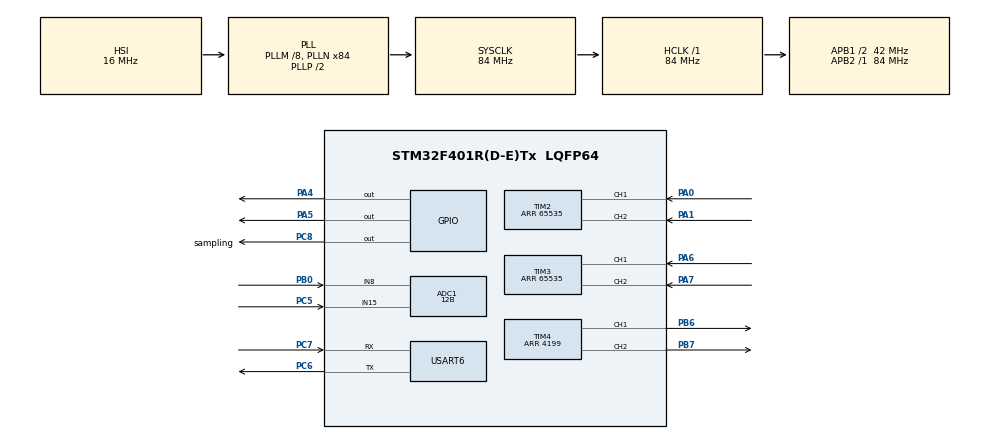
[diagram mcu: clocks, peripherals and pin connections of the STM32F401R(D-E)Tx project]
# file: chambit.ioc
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ADC1.Channel-0\#ChannelRegularConversion=ADC_CHANNEL_8
ADC1.Channel-1\#ChannelRegularConversion=ADC_CHANNEL_15
ADC1.ClockPrescaler=ADC_CLOCK_SYNC_PCLK_DIV4
ADC1.ContinuousConvMode=DISABLE
ADC1.DMAContinuousRequests=ENABLE
ADC1.DataAlign=ADC_DATAALIGN_RIGHT
ADC1.DiscontinuousConvMode=DISABLE
ADC1.EOCSelection=ADC_EOC_SINGLE_CONV
ADC1.EnableAnalogWatchDog=false
ADC1.ExternalTrigConv=ADC_SOFTWARE_START
ADC1.ExternalTrigConvEdge=ADC_EXTERNALTRIGCONVEDGE_NONE
ADC1.InjNumberOfConversion=0
ADC1.NbrOfConversion=2
ADC1.NbrOfConversionFlag=1
ADC1.Rank-0\#ChannelRegularConversion=1
ADC1.Rank-1\#ChannelRegularConversion=2
ADC1.Resolution=ADC_RESOLUTION_12B
ADC1.SamplingTime-0\#ChannelRegularConversion=ADC_SAMPLETIME_480CYCLES
ADC1.SamplingTime-1\#ChannelRegularConversion=ADC_SAMPLETIME_480CYCLES
ADC1.ScanConvMode=ENABLE
ADC1.master=1
Dma.ADC1.1.Direction=DMA_PERIPH_TO_MEMORY
Dma.ADC1.1.FIFOMode=DMA_FIFOMODE_DISABLE
Dma.ADC1.1.Instance=DMA2_Stream0
Dma.ADC1.1.MemDataAlignment=DMA_MDATAALIGN_HALFWORD
Dma.ADC1.1.MemInc=DMA_MINC_ENABLE
Dma.ADC1.1.Mode=DMA_CIRCULAR
Dma.ADC1.1.PeriphDataAlignment=DMA_PDATAALIGN_HALFWORD
Dma.ADC1.1.PeriphInc=DMA_PINC_DISABLE
Dma.ADC1.1.Priority=DMA_PRIORITY_LOW
Dma.Request0=USART6_RX
Dma.Request1=ADC1
Dma.USART6_RX.0.Direction=DMA_PERIPH_TO_MEMORY
Dma.USART6_RX.0.FIFOMode=DMA_FIFOMODE_DISABLE
Dma.USART6_RX.0.Instance=DMA2_Stream1
Dma.USART6_RX.0.MemDataAlignment=DMA_MDATAALIGN_BYTE
Dma.USART6_RX.0.MemInc=DMA_MINC_ENABLE
Dma.USART6_RX.0.Mode=DMA_CIRCULAR
Dma.USART6_RX.0.PeriphDataAlignment=DMA_PDATAALIGN_BYTE
Dma.USART6_RX.0.PeriphInc=DMA_PINC_DISABLE
Dma.USART6_RX.0.Priority=DMA_PRIORITY_LOW
Mcu.Family=STM32F4
Mcu.Name=STM32F401R(D-E)Tx
Mcu.Package=LQFP64
NVIC.DMA2_Stream0_IRQn=true\:0\:0\:false\:false\:true\:false
NVIC.DMA2_Stream1_IRQn=true\:0\:0\:false\:false\:true\:false
NVIC.PriorityGroup=NVIC_PRIORITYGROUP_4
NVIC.TIM4_IRQn=true\:0\:0\:false\:false\:true\:true
PA0-WKUP.Signal=S_TIM2_CH1_ETR
PA1.Signal=S_TIM2_CH2
PA4.Signal=GPIO_Output
PA5.Signal=GPIO_Output
PA6.Signal=S_TIM3_CH1
PA7.Signal=S_TIM3_CH2
PB0.Signal=ADCx_IN8
PB6.Signal=S_TIM4_CH1
PB7.Signal=S_TIM4_CH2
PC14-OSC32_IN.Mode=LSE-External-Oscillator
PC14-OSC32_IN.Signal=RCC_OSC32_IN
PC15-OSC32_OUT.Mode=LSE-External-Oscillator
PC15-OSC32_OUT.Signal=RCC_OSC32_OUT
PC5.Signal=ADCx_IN15
PC6.Mode=Asynchronous
PC6.Signal=USART6_TX
PC7.Mode=Asynchronous
PC7.Signal=USART6_RX
PC8.GPIO_Label=sampling
PC8.Signal=GPIO_Output
PH0\ -\ OSC_IN.Mode=HSE-External-Clock-Source
PH0\ -\ OSC_IN.Signal=RCC_OSC_IN
PH1\ -\ OSC_OUT.Mode=HSE-External-Clock-Source
PH1\ -\ OSC_OUT.Signal=RCC_OSC_OUT
ProjectManager.HeapSize=0x200
ProjectManager.StackSize=0x400
ProjectManager.TargetToolchain=EWARM
RCC.48MHZClocksFreq_Value=42000000
RCC.AHBFreq_Value=84000000
RCC.APB1CLKDivider=RCC_HCLK_DIV2
RCC.APB1Freq_Value=42000000
RCC.APB1TimFreq_Value=84000000
RCC.APB2Freq_Value=84000000
RCC.APB2TimFreq_Value=84000000
RCC.CortexFreq_Value=84000000
RCC.HCLKFreq_Value=84000000
RCC.HSE_VALUE=25000000
RCC.HSI_VALUE=16000000
RCC.PLLM=8
RCC.PLLN=84
RCC.SYSCLKFreq_VALUE=84000000
RCC.SYSCLKSource=RCC_SYSCLKSOURCE_PLLCLK
RCC.VCOOutputFreq_Value=168000000
SH.ADCx_IN15.0=ADC1_IN15,IN15
SH.ADCx_IN8.0=ADC1_IN8,IN8
SH.S_TIM2_CH1_ETR.0=TIM2_CH1,Encoder_Interface
SH.S_TIM2_CH2.0=TIM2_CH2,Encoder_Interface
SH.S_TIM3_CH1.0=TIM3_CH1,Encoder_Interface
SH.S_TIM3_CH2.0=TIM3_CH2,Encoder_Interface
SH.S_TIM4_CH1.0=TIM4_CH1,PWM Generation1 CH1
SH.S_TIM4_CH2.0=TIM4_CH2,PWM Generation2 CH2
TIM2.EncoderMode=TIM_ENCODERMODE_TI12
TIM2.Period=65535
TIM3.EncoderMode=TIM_ENCODERMODE_TI12
TIM3.Period=65535
TIM4.Channel-PWM\ Generation1\ CH1=TIM_CHANNEL_1
TIM4.Channel-PWM\ Generation2\ CH2=TIM_CHANNEL_2
TIM4.Period=4199
USART6.VirtualMode=VM_ASYNC
VP_TIM4_VS_ClockSourceINT.Mode=Internal
board=chambit

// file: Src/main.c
/**
  ******************************************************************************
  * @file           : main.c
  * @brief          : Main program body
  ******************************************************************************
  ** This notice applies to any and all portions of this file
  * that are not between comment pairs USER CODE BEGIN and
  * USER CODE END. Other portions of this file, whether
  * inserted by the user or by software development tools
  * are owned by their respective copyright owners.
  *
  * COPYRIGHT(c) 2020 STMicroelectronics
  *
  * Redistribution and use in source and binary forms, with or without modification,
  * are permitted provided that the following conditions are met:
  *   1. Redistributions of source code must retain the above copyright notice,
  *      this list of conditions and the following disclaimer.
  *   2. Redistributions in binary form must reproduce the above copyright notice,
  *      this list of conditions and the following disclaimer in the documentation
  *      and/or other materials provided with the distribution.
  *   3. Neither the name of STMicroelectronics nor the names of its contributors
  *      may be used to endorse or promote products derived from this software
  *      without specific prior written permission.
  *
  * THIS SOFTWARE IS PROVIDED BY THE COPYRIGHT HOLDERS AND CONTRIBUTORS "AS IS"
  * AND ANY EXPRESS OR IMPLIED WARRANTIES, INCLUDING, BUT NOT LIMITED TO, THE
  * IMPLIED WARRANTIES OF MERCHANTABILITY AND FITNESS FOR A PARTICULAR PURPOSE ARE
  * DISCLAIMED. IN NO EVENT SHALL THE COPYRIGHT HOLDER OR CONTRIBUTORS BE LIABLE
  * FOR ANY DIRECT, INDIRECT, INCIDENTAL, SPECIAL, EXEMPLARY, OR CONSEQUENTIAL
  * DAMAGES (INCLUDING, BUT NOT LIMITED TO, PROCUREMENT OF SUBSTITUTE GOODS OR
  * SERVICES; LOSS OF USE, DATA, OR PROFITS; OR BUSINESS INTERRUPTION) HOWEVER
  * CAUSED AND ON ANY THEORY OF LIABILITY, WHETHER IN CONTRACT, STRICT LIABILITY,
  * OR TORT (INCLUDING NEGLIGENCE OR OTHERWISE) ARISING IN ANY WAY OUT OF THE USE
  * OF THIS SOFTWARE, EVEN IF ADVISED OF THE POSSIBILITY OF SUCH DAMAGE.
  *
  ******************************************************************************
  */
#include "main.h"
#include "stm32f4xx_hal.h"

/* USER CODE BEGIN Includes */
#include "string.h"
#include "math.h"

/* USER CODE END Includes */

ADC_HandleTypeDef hadc1;
DMA_HandleTypeDef hdma_adc1;

TIM_HandleTypeDef htim2;
TIM_HandleTypeDef htim3;
TIM_HandleTypeDef htim4;

UART_HandleTypeDef huart6;
DMA_HandleTypeDef hdma_usart6_rx;

/* USER CODE BEGIN PV */
/* Private variables ---------------------------------------------------------*/
#define dt 0.0002
#define dt2 0.0001
#define dt10 0.02
#define pi 3.141592653589793
#define ppr 3724
#define RX_BUFFER_SIZE 18
#define TX_BUFFER_SIZE 12
#define R 0.075
#define L 0.2125
#define get_dma_data_length() huart6.hdmarx->Instance->NDTR
#define get_dma_total_size() huart6.RxXferSize
//#define tau 0.00048

volatile int32_t encoder_cnt_R = 0;
volatile int32_t encoder_cnt_L = 0;
volatile int32_t encoder_cnt_pre_R = 0;
volatile int32_t encoder_cnt_pre_L = 0;

volatile int16_t cnt_R = 0;
volatile int16_t cnt_L = 0;

volatile double angular_velocity_R = 0;
volatile double angular_velocity_L = 0;
volatile double angular_velocity_pre_R = 0;
volatile double angular_velocity_pre_L = 0;
volatile double theta_R = 0;
volatile double theta_L = 0;
volatile double delta_s = 0;
volatile double delta_theta = 0;

//volatile int g_cnt = 0;

volatile uint16_t Motor_CCR_R = 0;
volatile uint16_t Motor_CCR_L = 0;
volatile uint16_t timer = 0;
volatile uint16_t ctimer = 0;
volatile uint16_t ptimer = 0;
volatile uint16_t ktimer = 0;

volatile double rep_r = 0;
volatile double rep_l = 0;
volatile double rep_pre_r = 0;
volatile double rep_pre_l = 0;
volatile double Kps[2] = {80.5, 61.5};//{74, 71};68 58
volatile double Kis[2] = {71.24, 68.12};//{55, 57};45 62
volatile double Kas[2] = {0.00455, 0.00555};
volatile double Es[2] = {0, 0};
volatile double Eis[2] = {0, 0};
volatile double speed[2] = {0, 0};

volatile int16_t lin_vel;
volatile int16_t ang_vel;

volatile uint8_t lin_vel_L;
volatile uint8_t lin_vel_H;
volatile uint8_t ang_vel_L;
volatile uint8_t ang_vel_H;

volatile int16_t sop = 0x55;
volatile int16_t checksum;

volatile uint8_t checksum_H;
volatile uint8_t checksum_L;

volatile char packet[RX_BUFFER_SIZE];
//volatile uint8_t parsing[RX_BUFFER_SIZE];

volatile int16_t plin_vel;
volatile int16_t pang_vel;
volatile int16_t pcheck;

uint8_t rx_dma_buffer[RX_BUFFER_SIZE];
uint8_t rx_buffer[RX_BUFFER_SIZE];
uint32_t rx_size = 0;
uint8_t tx_len;
uint8_t tx_buffer[TX_BUFFER_SIZE];

uint16_t _prevRxXferedCount = 0;
uint16_t _lastRxXferedCount = 0;

uint16_t old_pos = 0;
uint16_t pos;
uint16_t umm;
uint16_t umm2;
uint16_t umm3;

int16_t trans_x;
int16_t trans_y;
int16_t trans_yaw;

uint8_t trans_x_L;
uint8_t trans_x_H;
uint8_t trans_y_L;
uint8_t trans_y_H;
uint8_t trans_yaw_L;
uint8_t trans_yaw_H;
int16_t trans_checksum;

uint8_t trans_checksum_L;
uint8_t trans_checksum_H;
uint8_t tx_odom[12];
uint8_t dir = 0;
volatile double odometry[3];

/* USER CODE END PV */

void SystemClock_Config(void);
static void MX_GPIO_Init(void);
static void MX_DMA_Init(void);
static void MX_TIM4_Init(void);
static void MX_TIM3_Init(void);
static void MX_TIM2_Init(void);
static void MX_USART6_UART_Init(void);
static void MX_ADC1_Init(void);

void HAL_TIM_MspPostInit(TIM_HandleTypeDef *htim);

/* USER CODE BEGIN PFP */
/* Private function prototypes -----------------------------------------------*/

/* USER CODE END PFP */

/* USER CODE BEGIN 0 */

void Uart_rx_dma_handler() {

  uint8_t cnt;
  uint8_t i;
  uint8_t temp[12];

  rx_size = 0;
  pos = get_dma_total_size() - get_dma_data_length();

  i = 0;

  while(1) {
    if((rx_dma_buffer[i] == rx_dma_buffer[i+1]) && (rx_dma_buffer[i] == 'U')) break;
    else i++;
  }

  if(pos != old_pos) {
    if(pos > old_pos) {
        //umm++;//test
        memcpy(&rx_buffer[old_pos], &rx_dma_buffer[(old_pos+i)%RX_BUFFER_SIZE], sizeof(uint8_t)*(pos - old_pos));
        rx_size += pos - old_pos;
    }else {
        //umm2++;//test
        memcpy(&rx_buffer[old_pos], &rx_dma_buffer[(old_pos+i)%RX_BUFFER_SIZE], sizeof(uint8_t)*(get_dma_total_size() - old_pos));
        rx_size += get_dma_total_size() - old_pos;
        if(pos > 0){
                memcpy(&rx_buffer[get_dma_total_size() - old_pos], &rx_dma_buffer[0], sizeof(uint8_t)*pos);
                rx_size += get_dma_total_size() - old_pos;
        }
    }
    old_pos = pos;
    if(rx_size > 0) {
      for(cnt = 0;cnt<rx_size;cnt++) {
        pcheck = (rx_buffer[6] << 8) | rx_buffer[7] & 0xff;
        if(pcheck == rx_buffer[0] + rx_buffer[1] + rx_buffer[2] + rx_buffer[3] + rx_buffer[4] + rx_buffer[5]) {
          plin_vel = (rx_buffer[2] << 8) | rx_buffer[3] & 0xff;
          pang_vel = (rx_buffer[4] << 8) | rx_buffer[5] & 0xff;

        }
      }
    }
  }
}

void HAL_TIM_PeriodElapsedCallback(TIM_HandleTypeDef *htim) {
  if(htim == &htim4) {
    //HAL_GPIO_WritePin(GPIOC,GPIO_PIN_8,GPIO_PIN_SET);
    timer++;

    if(timer ==2) {
      ctimer++;//////////
      ptimer++;

      timer = 0;

      rep_pre_r = cos(pi);

      //if(ptimer < 91000) ptimer++;

      //TIM4 CHN2 R CHN1 L
      //DIR PA5 L PA4 R
      //ADC IN14 L IN15 R

     if(ctimer == 100){

        encoder_cnt_pre_R = encoder_cnt_R;
        encoder_cnt_pre_L = encoder_cnt_L;
        encoder_cnt_R = TIM3->CNT;
        encoder_cnt_L = TIM2->CNT;

        if((pang_vel < 1000 & pang_vel > -1000) & (plin_vel < 1000 & plin_vel > -1000)) {
          rep_r = 0.001*(pang_vel*L + plin_vel)/R;
          rep_l = 0.001*(-pang_vel*L + plin_vel)/R;
        }

        cnt_R = encoder_cnt_R-encoder_cnt_pre_R;
        cnt_L = encoder_cnt_L-encoder_cnt_pre_L;

        if(encoder_cnt_R < 100 & encoder_cnt_pre_R > 65450 ) cnt_R += 65535;
        else if(encoder_cnt_pre_R < 100 & encoder_cnt_R > 65000) cnt_R -= 65535;
        if(encoder_cnt_L < 100 & encoder_cnt_pre_L > 65450 ) cnt_L += 65535;
        else if(encoder_cnt_pre_L < 100 & encoder_cnt_L > 65000) cnt_L -= 65535;

        theta_R = (double)(2*pi*cnt_R/ppr);
        theta_L = (double)(2*pi*cnt_L/ppr);
        angular_velocity_R = (double)theta_R/dt10;
        angular_velocity_L = (double)theta_L/dt10;

        Es[0] = (double)(rep_r - angular_velocity_R);
        Eis[0] += (double)Es[0];
        speed[0] = (double)Kps[0] * Es[0] + Kis[0] * Eis[0];

        if(speed[0] >= 4198) {
          Eis[0] -= (double)1/Kps[0]*(speed[0] - 4198);
          speed[0] = 4198;
        }
        else if(speed[0] <= -4198) {
          Eis[0] -= (double)1/Kps[0]*(speed[0] - (-4198));
          speed[0] = -4198;
        }

        Es[1] = (double)(rep_l - angular_velocity_L);
        Eis[1] += (double)Es[1];
        speed[1] = (double)Kps[1] * Es[1] + Kis[1] * Eis[1];
        if(speed[1] >= 4198) {
          Eis[1] -= (double)1/Kps[1]*(speed[1] - 4198);
          speed[1] = 4198;
        }
        else if(speed[1] <= -4198) {
          Eis[1] -= (double)1/Kps[1]*(speed[1] - (-4198));
          speed[1] = -4198;
        }

        if(speed[1] < 260 && speed[1] > -260)     speed[1] = 0;

        if(speed[1]<0) {  //���ʹ��� ������
          HAL_GPIO_WritePin(GPIOA,GPIO_PIN_5,GPIO_PIN_SET);
          speed[1]=-speed[1];
          dir = 0;
        }
        else {
          HAL_GPIO_WritePin(GPIOA,GPIO_PIN_5,GPIO_PIN_RESET);
          //speed[1]=speed[1];
          dir = 1;
        }
        if(speed[0] < 0 ) {
          HAL_GPIO_WritePin(GPIOA,GPIO_PIN_4,GPIO_PIN_RESET);
          speed[0] = -speed[0];
        }
        else {
          HAL_GPIO_WritePin(GPIOA,GPIO_PIN_4,GPIO_PIN_SET);
          //speed[0] = speed[0];
        }

        Motor_CCR_R = (uint16_t)speed[0];
        Motor_CCR_L = (uint16_t)speed[1];

        //TIM4->CCR1 = Motor_CCR_L;
        //TIM4->CCR2 = Motor_CCR_R;

        delta_s = (double)R*(theta_R + theta_L)/2.0;
        delta_theta = (double)R*(theta_R - theta_L)/(2.0*L);
        odometry[0] += delta_s * cos(odometry[2] + (delta_theta/2.0));
        odometry[1] += delta_s * sin(odometry[2] + (delta_theta/2.0));
        odometry[2] += delta_theta;
        if(odometry[2] < -1 * pi) {
          odometry[2] += 2.0*pi;
        }
        else if(odometry[2] > pi) {
          odometry[2] -= 2.0*pi;
        }

        ctimer = 0;
        //rep_pre_r = rep_r;
        //rep_pre_l = rep_l;

      }
     if(ptimer == 1500) {

       trans_x = (int16_t)1000*odometry[0];
       trans_y = (int16_t)1000*odometry[1];
       trans_yaw = (int16_t)1000*odometry[2];

        trans_x_L = trans_x & 0xff;
        trans_x_H = trans_x >>8;
        trans_y_L = trans_y & 0xff;;
        trans_y_H = trans_y >>8;
        trans_yaw_L = trans_yaw & 0xff;;
        trans_yaw_H = trans_yaw >>8;
        trans_checksum = sop+sop+trans_x_L+trans_x_H+trans_y_L+trans_y_H+trans_yaw_L+trans_yaw_H;
        trans_checksum_L = trans_checksum & 0xff;
        trans_checksum_H = trans_checksum >>8;
        sprintf(tx_odom,"%c%c%c%c%c%c%c%c%c%c\n",sop,sop,trans_x_H,trans_x_L,
                  trans_y_H,trans_y_L,trans_yaw_H,trans_yaw_L,trans_checksum_H,trans_checksum_L);
        HAL_UART_Transmit(&huart6,tx_odom,sizeof(tx_odom), 10);

        ptimer = 0;
     }/////////

    }
    TIM4->CCR1 = Motor_CCR_L;
    TIM4->CCR2 = Motor_CCR_R;

    //HAL_GPIO_WritePin(GPIOC,GPIO_PIN_8,GPIO_PIN_RESET);
   }
}

/*
void HAL_UART_CallBack(UART_HandleTypeDef *huart) {

  HAL_GPIO_TogglePin(GPIOA, GPIO_PIN_5);
  tx_len = sizeof(tx_buffer) -1;
  HAL_UART_Transmit(&huart6, tx_buffer, tx_len, HAL_MAX_DELAY);

}*/

/* USER CODE END 0 */

int main(void)
{

  /* MCU Configuration----------------------------------------------------------*/

  /* Reset of all peripherals, Initializes the Flash interface and the Systick. */
  HAL_Init();

  /* Configure the system clock */
  SystemClock_Config();

  /* Initialize all configured peripherals */
  MX_GPIO_Init();
  MX_DMA_Init();
  MX_TIM4_Init();
  MX_TIM3_Init();
  MX_TIM2_Init();
  MX_USART6_UART_Init();
  MX_ADC1_Init();
  /* USER CODE BEGIN 2 */

  HAL_TIM_Base_Start_IT(&htim4);
  HAL_UART_Receive_DMA(&huart6, rx_dma_buffer, RX_BUFFER_SIZE);
  //HAL_UART_Receive_IT(&huart6,rx_dma_buffer,RX_BUFFER_SIZE);
  HAL_TIM_PWM_Start(&htim4, TIM_CHANNEL_1);
  HAL_TIMEx_PWMN_Start(&htim4, TIM_CHANNEL_1);
  HAL_TIM_PWM_Start(&htim4, TIM_CHANNEL_2);
  HAL_TIMEx_PWMN_Start(&htim4, TIM_CHANNEL_2);
  HAL_TIM_Encoder_Start(&htim2,TIM_CHANNEL_ALL);
  HAL_TIM_Encoder_Start(&htim3,TIM_CHANNEL_ALL);
  HAL_GPIO_WritePin(GPIOA,GPIO_PIN_4,GPIO_PIN_SET);//R RESET �� SET ��
  HAL_GPIO_WritePin(GPIOA,GPIO_PIN_5,GPIO_PIN_SET);

  /* USER CODE END 2 */

  /* Infinite loop */
  /* USER CODE BEGIN WHILE */
  while (1)
  {
    /*g_cnt = 0;

    pcheck = (rx_buffer[6] << 8) | rx_buffer[7] & 0xff;
    if(pcheck == rx_buffer[0] + rx_buffer[1] + rx_buffer[2] + rx_buffer[3] + rx_buffer[4] + rx_buffer[5]) {
      plin_vel = (rx_buffer[2] << 8) | rx_buffer[3] & 0xff;
      pang_vel = (rx_buffer[4] << 8) | rx_buffer[5] & 0xff;
    }
    */
    Uart_rx_dma_handler();

  /* USER CODE END WHILE */

  }

}

void SystemClock_Config(void)
{

  RCC_OscInitTypeDef RCC_OscInitStruct;
  RCC_ClkInitTypeDef RCC_ClkInitStruct;

    /**Configure the main internal regulator output voltage
    */
  __HAL_RCC_PWR_CLK_ENABLE();

  __HAL_PWR_VOLTAGESCALING_CONFIG(PWR_REGULATOR_VOLTAGE_SCALE2);

    /**Initializes the CPU, AHB and APB busses clocks
    */
  RCC_OscInitStruct.OscillatorType = RCC_OSCILLATORTYPE_HSI;
  RCC_OscInitStruct.HSIState = RCC_HSI_ON;
  RCC_OscInitStruct.HSICalibrationValue = 16;
  RCC_OscInitStruct.PLL.PLLState = RCC_PLL_ON;
  RCC_OscInitStruct.PLL.PLLSource = RCC_PLLSOURCE_HSI;
  RCC_OscInitStruct.PLL.PLLM = 8;
  RCC_OscInitStruct.PLL.PLLN = 84;
  RCC_OscInitStruct.PLL.PLLP = RCC_PLLP_DIV2;
  RCC_OscInitStruct.PLL.PLLQ = 4;
  if (HAL_RCC_OscConfig(&RCC_OscInitStruct) != HAL_OK)
  {
    _Error_Handler(__FILE__, __LINE__);
  }

    /**Initializes the CPU, AHB and APB busses clocks
    */
  RCC_ClkInitStruct.ClockType = RCC_CLOCKTYPE_HCLK|RCC_CLOCKTYPE_SYSCLK
                              |RCC_CLOCKTYPE_PCLK1|RCC_CLOCKTYPE_PCLK2;
  RCC_ClkInitStruct.SYSCLKSource = RCC_SYSCLKSOURCE_PLLCLK;
  RCC_ClkInitStruct.AHBCLKDivider = RCC_SYSCLK_DIV1;
  RCC_ClkInitStruct.APB1CLKDivider = RCC_HCLK_DIV2;
  RCC_ClkInitStruct.APB2CLKDivider = RCC_HCLK_DIV1;

  if (HAL_RCC_ClockConfig(&RCC_ClkInitStruct, FLASH_LATENCY_2) != HAL_OK)
  {
    _Error_Handler(__FILE__, __LINE__);
  }

    /**Configure the Systick interrupt time
    */
  HAL_SYSTICK_Config(HAL_RCC_GetHCLKFreq()/1000);

    /**Configure the Systick
    */
  HAL_SYSTICK_CLKSourceConfig(SYSTICK_CLKSOURCE_HCLK);

  /* SysTick_IRQn interrupt configuration */
  HAL_NVIC_SetPriority(SysTick_IRQn, 0, 0);
}

/* ADC1 init function */
static void MX_ADC1_Init(void)
{

  ADC_ChannelConfTypeDef sConfig;

    /**Configure the global features of the ADC (Clock, Resolution, Data Alignment and number of conversion)
    */
  hadc1.Instance = ADC1;
  hadc1.Init.ClockPrescaler = ADC_CLOCK_SYNC_PCLK_DIV4;
  hadc1.Init.Resolution = ADC_RESOLUTION_12B;
  hadc1.Init.ScanConvMode = ENABLE;
  hadc1.Init.ContinuousConvMode = DISABLE;
  hadc1.Init.DiscontinuousConvMode = DISABLE;
  hadc1.Init.ExternalTrigConvEdge = ADC_EXTERNALTRIGCONVEDGE_NONE;
  hadc1.Init.ExternalTrigConv = ADC_SOFTWARE_START;
  hadc1.Init.DataAlign = ADC_DATAALIGN_RIGHT;
  hadc1.Init.NbrOfConversion = 2;
  hadc1.Init.DMAContinuousRequests = ENABLE;
  hadc1.Init.EOCSelection = ADC_EOC_SINGLE_CONV;
  if (HAL_ADC_Init(&hadc1) != HAL_OK)
  {
    _Error_Handler(__FILE__, __LINE__);
  }

    /**Configure for the selected ADC regular channel its corresponding rank in the sequencer and its sample time.
    */
  sConfig.Channel = ADC_CHANNEL_8;
  sConfig.Rank = 1;
  sConfig.SamplingTime = ADC_SAMPLETIME_480CYCLES;
  if (HAL_ADC_ConfigChannel(&hadc1, &sConfig) != HAL_OK)
  {
    _Error_Handler(__FILE__, __LINE__);
  }

    /**Configure for the selected ADC regular channel its corresponding rank in the sequencer and its sample time.
    */
  sConfig.Channel = ADC_CHANNEL_15;
  sConfig.Rank = 2;
  if (HAL_ADC_ConfigChannel(&hadc1, &sConfig) != HAL_OK)
  {
    _Error_Handler(__FILE__, __LINE__);
  }

}

/* TIM2 init function */
static void MX_TIM2_Init(void)
{

  TIM_Encoder_InitTypeDef sConfig;
  TIM_MasterConfigTypeDef sMasterConfig;

  htim2.Instance = TIM2;
  htim2.Init.Prescaler = 0;
  htim2.Init.CounterMode = TIM_COUNTERMODE_UP;
  htim2.Init.Period = 65535;
  htim2.Init.ClockDivision = TIM_CLOCKDIVISION_DIV1;
  sConfig.EncoderMode = TIM_ENCODERMODE_TI12;
  sConfig.IC1Polarity = TIM_ICPOLARITY_RISING;
  sConfig.IC1Selection = TIM_ICSELECTION_DIRECTTI;
  sConfig.IC1Prescaler = TIM_ICPSC_DIV1;
  sConfig.IC1Filter = 0;
  sConfig.IC2Polarity = TIM_ICPOLARITY_RISING;
  sConfig.IC2Selection = TIM_ICSELECTION_DIRECTTI;
  sConfig.IC2Prescaler = TIM_ICPSC_DIV1;
  sConfig.IC2Filter = 0;
  if (HAL_TIM_Encoder_Init(&htim2, &sConfig) != HAL_OK)
  {
    _Error_Handler(__FILE__, __LINE__);
  }

  sMasterConfig.MasterOutputTrigger = TIM_TRGO_RESET;
  sMasterConfig.MasterSlaveMode = TIM_MASTERSLAVEMODE_DISABLE;
  if (HAL_TIMEx_MasterConfigSynchronization(&htim2, &sMasterConfig) != HAL_OK)
  {
    _Error_Handler(__FILE__, __LINE__);
  }

}

/* TIM3 init function */
static void MX_TIM3_Init(void)
{

  TIM_Encoder_InitTypeDef sConfig;
  TIM_MasterConfigTypeDef sMasterConfig;

  htim3.Instance = TIM3;
  htim3.Init.Prescaler = 0;
  htim3.Init.CounterMode = TIM_COUNTERMODE_UP;
  htim3.Init.Period = 65535;
  htim3.Init.ClockDivision = TIM_CLOCKDIVISION_DIV1;
  sConfig.EncoderMode = TIM_ENCODERMODE_TI12;
  sConfig.IC1Polarity = TIM_ICPOLARITY_RISING;
  sConfig.IC1Selection = TIM_ICSELECTION_DIRECTTI;
  sConfig.IC1Prescaler = TIM_ICPSC_DIV1;
  sConfig.IC1Filter = 0;
  sConfig.IC2Polarity = TIM_ICPOLARITY_RISING;
  sConfig.IC2Selection = TIM_ICSELECTION_DIRECTTI;
  sConfig.IC2Prescaler = TIM_ICPSC_DIV1;
  sConfig.IC2Filter = 0;
  if (HAL_TIM_Encoder_Init(&htim3, &sConfig) != HAL_OK)
  {
    _Error_Handler(__FILE__, __LINE__);
  }

  sMasterConfig.MasterOutputTrigger = TIM_TRGO_RESET;
  sMasterConfig.MasterSlaveMode = TIM_MASTERSLAVEMODE_DISABLE;
  if (HAL_TIMEx_MasterConfigSynchronization(&htim3, &sMasterConfig) != HAL_OK)
  {
    _Error_Handler(__FILE__, __LINE__);
  }

}

/* TIM4 init function */
static void MX_TIM4_Init(void)
{

  TIM_ClockConfigTypeDef sClockSourceConfig;
  TIM_MasterConfigTypeDef sMasterConfig;
  TIM_OC_InitTypeDef sConfigOC;

  htim4.Instance = TIM4;
  htim4.Init.Prescaler = 0;
  htim4.Init.CounterMode = TIM_COUNTERMODE_UP;
  htim4.Init.Period = 4199;
  htim4.Init.ClockDivision = TIM_CLOCKDIVISION_DIV1;
  if (HAL_TIM_Base_Init(&htim4) != HAL_OK)
  {
    _Error_Handler(__FILE__, __LINE__);
  }

  sClockSourceConfig.ClockSource = TIM_CLOCKSOURCE_INTERNAL;
  if (HAL_TIM_ConfigClockSource(&htim4, &sClockSourceConfig) != HAL_OK)
  {
    _Error_Handler(__FILE__, __LINE__);
  }

  if (HAL_TIM_PWM_Init(&htim4) != HAL_OK)
  {
    _Error_Handler(__FILE__, __LINE__);
  }

  sMasterConfig.MasterOutputTrigger = TIM_TRGO_RESET;
  sMasterConfig.MasterSlaveMode = TIM_MASTERSLAVEMODE_DISABLE;
  if (HAL_TIMEx_MasterConfigSynchronization(&htim4, &sMasterConfig) != HAL_OK)
  {
    _Error_Handler(__FILE__, __LINE__);
  }

  sConfigOC.OCMode = TIM_OCMODE_PWM1;
  sConfigOC.Pulse = 0;
  sConfigOC.OCPolarity = TIM_OCPOLARITY_HIGH;
  sConfigOC.OCFastMode = TIM_OCFAST_DISABLE;
  if (HAL_TIM_PWM_ConfigChannel(&htim4, &sConfigOC, TIM_CHANNEL_1) != HAL_OK)
  {
    _Error_Handler(__FILE__, __LINE__);
  }

  if (HAL_TIM_PWM_ConfigChannel(&htim4, &sConfigOC, TIM_CHANNEL_2) != HAL_OK)
  {
    _Error_Handler(__FILE__, __LINE__);
  }

  HAL_TIM_MspPostInit(&htim4);

}

/* USART6 init function */
static void MX_USART6_UART_Init(void)
{

  huart6.Instance = USART6;
  huart6.Init.BaudRate = 115200;
  huart6.Init.WordLength = UART_WORDLENGTH_8B;
  huart6.Init.StopBits = UART_STOPBITS_1;
  huart6.Init.Parity = UART_PARITY_NONE;
  huart6.Init.Mode = UART_MODE_TX_RX;
  huart6.Init.HwFlowCtl = UART_HWCONTROL_NONE;
  huart6.Init.OverSampling = UART_OVERSAMPLING_16;
  if (HAL_UART_Init(&huart6) != HAL_OK)
  {
    _Error_Handler(__FILE__, __LINE__);
  }

}

static void MX_DMA_Init(void)
{
  /* DMA controller clock enable */
  __HAL_RCC_DMA2_CLK_ENABLE();

  /* DMA interrupt init */
  /* DMA2_Stream0_IRQn interrupt configuration */
  HAL_NVIC_SetPriority(DMA2_Stream0_IRQn, 0, 0);
  HAL_NVIC_EnableIRQ(DMA2_Stream0_IRQn);
  /* DMA2_Stream1_IRQn interrupt configuration */
  HAL_NVIC_SetPriority(DMA2_Stream1_IRQn, 0, 0);
  HAL_NVIC_EnableIRQ(DMA2_Stream1_IRQn);

}

/** Configure pins as
        * Analog
        * Input
        * Output
        * EVENT_OUT
        * EXTI
*/
static void MX_GPIO_Init(void)
{

  GPIO_InitTypeDef GPIO_InitStruct;

  /* GPIO Ports Clock Enable */
  __HAL_RCC_GPIOC_CLK_ENABLE();
  __HAL_RCC_GPIOH_CLK_ENABLE();
  __HAL_RCC_GPIOA_CLK_ENABLE();
  __HAL_RCC_GPIOB_CLK_ENABLE();

  /*Configure GPIO pin Output Level */
  HAL_GPIO_WritePin(GPIOA, GPIO_PIN_4|GPIO_PIN_5, GPIO_PIN_RESET);

  /*Configure GPIO pin Output Level */
  HAL_GPIO_WritePin(sampling_GPIO_Port, sampling_Pin, GPIO_PIN_RESET);

  /*Configure GPIO pins : PA4 PA5 */
  GPIO_InitStruct.Pin = GPIO_PIN_4|GPIO_PIN_5;
  GPIO_InitStruct.Mode = GPIO_MODE_OUTPUT_PP;
  GPIO_InitStruct.Pull = GPIO_NOPULL;
  GPIO_InitStruct.Speed = GPIO_SPEED_FREQ_LOW;
  HAL_GPIO_Init(GPIOA, &GPIO_InitStruct);

  /*Configure GPIO pin : sampling_Pin */
  GPIO_InitStruct.Pin = sampling_Pin;
  GPIO_InitStruct.Mode = GPIO_MODE_OUTPUT_PP;
  GPIO_InitStruct.Pull = GPIO_NOPULL;
  GPIO_InitStruct.Speed = GPIO_SPEED_FREQ_LOW;
  HAL_GPIO_Init(sampling_GPIO_Port, &GPIO_InitStruct);

}

void _Error_Handler(char *file, int line)
{
  while(1)
  {
  }
}

/************************ (C) COPYRIGHT STMicroelectronics *****END OF FILE****/
